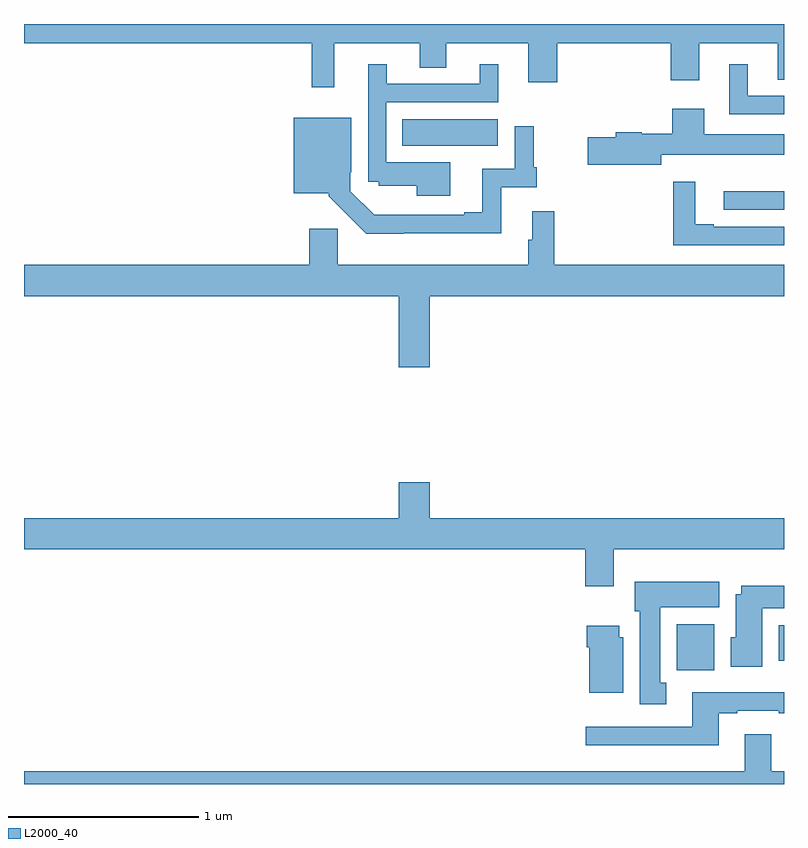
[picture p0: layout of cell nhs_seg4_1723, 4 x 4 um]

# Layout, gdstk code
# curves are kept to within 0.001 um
import gdstk
lib = gdstk.Library(unit=1e-6, precision=1e-09)
def R(c, l, rs):  # rectangles x0, y0, x1, y1
    for r in rs: c.add(gdstk.rectangle(r[:2], r[2:], *l))
def P(c, l, *ps):  # polygons
    for p in ps: c.add(gdstk.Polygon(p, *l))
L2000_40 = (2000, 40)

nhs_seg4_1723 = lib.new_cell('nhs_seg4_1723')
R(nhs_seg4_1723, L2000_40, [(202.436,813.5,202.633,813.742), (202.973,813.548,203,813.736), (202.683,815.922,203,816.02), (200.992,816.26,201.493,816.4)])
P(nhs_seg4_1723, L2000_40, [(200.633,816.8),(201.083,816.8),(201.083,816.67),(201.223,816.67),(201.223,816.8),(201.653,816.8),(201.653,816.594),(201.806,816.594),(201.806,816.8),(202.403,816.8),(202.403,816.603),(202.555,816.603),(202.555,816.8),(202.967,816.8),(202.967,816.607),(203,816.607),(203,816.9),(199,816.9),(199,816.8),(200.515,816.8),(200.515,816.567),(200.633,816.567)],
  [(203,816.522),(202.81,816.522),(202.81,816.688),(202.712,816.688),(202.712,816.426),(203,816.426)],
  [(201.244,816.172),(200.907,816.172),(200.907,816.489),(201.496,816.489),(201.496,816.688),(201.398,816.688),(201.398,816.585),(200.908,816.585),(200.908,816.688),(200.811,816.688),(200.811,816.069),(200.868,816.069),(200.868,816.05),(201.068,816.05),(201.068,815.996),(201.244,815.996)],
  [(202.354,816.212),(203,816.212),(203,816.319),(202.579,816.319),(202.579,816.454),(202.412,816.454),(202.412,816.322),(202.25,816.322),(202.25,816.33),(202.115,816.33),(202.115,816.305),(201.966,816.305),(201.966,816.158),(202.354,816.158)],
  [(200.999,815.798),(201.511,815.798),(201.511,816.042),(201.698,816.042),(201.698,816.145),(201.683,816.145),(201.683,816.361),(201.582,816.361),(201.582,816.138),(201.413,816.138),(201.413,815.908),(201.317,815.908),(201.317,815.895),(200.844,815.896),(200.718,816.021),(200.718,816.121),(200.722,816.121),(200.722,816.406),(200.42,816.406),(200.42,816.008),(200.603,816.008),(200.603,815.993),(200.8,815.796),(200.999,815.796)],
  [(203,815.832),(202.63,815.832),(202.63,815.845),(202.534,815.845),(202.534,816.07),(202.417,816.07),(202.417,815.736),(203,815.736)],
  [(201.136,815.468),(203,815.468),(203,815.632),(201.791,815.632),(201.791,815.914),(201.674,815.914),(201.674,815.765),(201.655,815.765),(201.655,815.632),(200.651,815.632),(200.651,815.823),(200.501,815.823),(200.501,815.632),(199,815.632),(199,815.468),(200.972,815.468),(200.972,815.094),(201.136,815.094)],
  [(202.105,814.136),(203,814.136),(203,814.3),(201.136,814.3),(201.136,814.489),(200.972,814.489),(200.972,814.3),(199,814.3),(199,814.136),(201.953,814.136),(201.953,813.942),(202.105,813.942)],
  [(202.381,813.434),(202.348,813.434),(202.348,813.83),(202.66,813.83),(202.66,813.964),(202.214,813.964),(202.214,813.81),(202.241,813.81),(202.241,813.321),(202.381,813.321)],
  [(202.885,813.824),(203,813.824),(203,813.943),(202.775,813.943),(202.775,813.898),(202.745,813.898),(202.745,813.672),(202.721,813.672),(202.721,813.518),(202.885,813.518)],
  [(202.153,813.672),(202.132,813.672),(202.132,813.733),(201.962,813.733),(201.962,813.62),(201.974,813.62),(201.974,813.38),(202.153,813.38)],
  [(202.657,813.273),(202.753,813.273),(202.753,813.285),(202.973,813.285),(202.973,813.273),(203,813.273),(203,813.382),(202.517,813.382),(202.517,813.201),(201.957,813.201),(201.957,813.104),(202.657,813.104)],
  [(203,812.968),(202.933,812.968),(202.933,813.163),(202.793,813.163),(202.793,812.968),(199,812.968),(199,812.9),(203,812.9)])

lib.write_gds('nhs_seg4_1723.gds')
